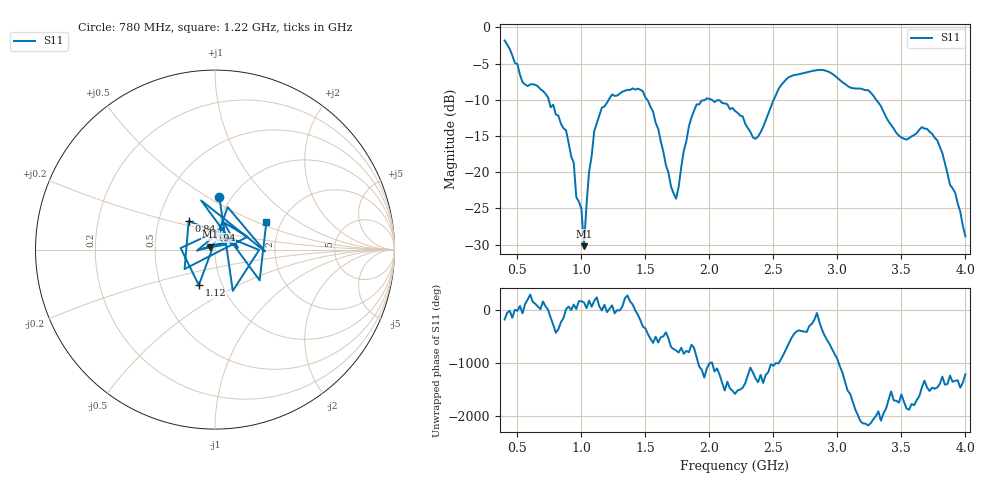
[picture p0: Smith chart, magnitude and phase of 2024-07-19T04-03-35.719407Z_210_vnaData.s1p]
!Created with skrf (http://scikit-rf.org).
# Hz S RI R 50.0
!freq ReS11 ImS11
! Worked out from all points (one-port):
!   181 points, 400 MHz to 4 GHz, reference 50 ohm
!   lowest |S11| = -30.2 dB at 1.02 GHz (marker M1), VSWR 1.06, Z = 47.4 + j1.47 ohm
!   |S11| at or under -10 dB: 744.8 MHz to 1.213 GHz (468.3 MHz wide, 47.8 % of centre); 2.02 GHz to 2.502 GHz (481.8 MHz wide, 21.3 % of centre); 3.304 GHz to end of sweep (the widest 3 of 4)
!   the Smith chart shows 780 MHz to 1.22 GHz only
!   S11 on the Smith chart (normalised r, x): 780 MHz: 0.88, +0.56; 840 MHz: 0.71, +0.24; 940 MHz: 0.91, +0.20; 1.12 GHz: 0.78, -0.32; 1.22 GHz: 1.68, +0.57
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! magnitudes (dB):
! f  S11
! 400 MHz  -1.8
! 540 MHz  -7.5
! 780 MHz  -10.7
! 840 MHz  -13.3
! 860 MHz  -13.9
! 940 MHz  -18.7
! 960 MHz  -23.4
! 1 GHz  -25.0
! 1.02 GHz  -30.2
! 1.06 GHz  -19.9
! 1.12 GHz  -13.2
! 1.22 GHz  -9.8
! 1.3 GHz  -9.1
! 1.48 GHz  -8.8
! 1.6 GHz  -14.0
! 1.7 GHz  -22.0
! 1.76 GHz  -22.0
! 1.84 GHz  -13.6
! 1.9 GHz  -10.6
! 2.2 GHz  -11.5
! 2.36 GHz  -15.4
! 2.66 GHz  -6.6
! 3.1 GHz  -8.3
! 3.24 GHz  -8.7
! 3.56 GHz  -15.3
! 3.66 GHz  -13.8
! 3.78 GHz  -15.6
! 4 GHz  -28.9
